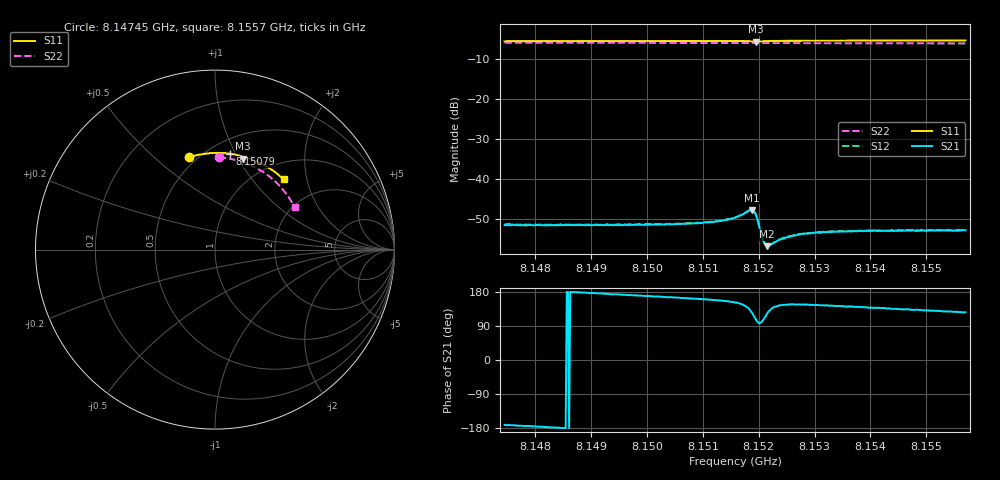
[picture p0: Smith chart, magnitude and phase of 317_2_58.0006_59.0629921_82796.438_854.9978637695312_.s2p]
#  HZ  S  RI  R  50.00
! Rohde & Schwarz Vector Network Analyzer
! Rohde-Schwarz,ZNB20-2Port,1311601062101988,3.16
! Created: UTC 3/21/2024, 1:04:26 AM
! freq[Hz]  re:S11  im:S11  re:S21  im:S21  re:S12  im:S12  re:S22  im:S22
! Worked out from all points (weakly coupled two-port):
!   401 points, 8.14745 GHz to 8.1557 GHz, reference 50 ohm
!   highest |S21| = -47.81 dB at 8.15188 GHz (marker M1); lowest = -56.9 dB at 8.15215 GHz (marker M2)
!   lowest |S11| = -5.5 dB at 8.15195 GHz (marker M3), VSWR 3.26, Z = 37.2 + j52.4 ohm
!   |S11| at or under -10 dB: nowhere
!   |S22| runs from -6.0 to -5.8 dB; largest |S21 - S12| = 0.00013
!   S11 on the Smith chart (normalised r, x): 8.14745 GHz: 0.45, +0.65; 8.15079 GHz: 0.63, +0.95; 8.1557 GHz: 1.31, +1.46
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8.147449e9  -0.147 0.5143  -0.0026 -0.000409  -0.00266 -0.000322  0.0221 0.5133
8.148832e9  -0.0527 0.5348  -0.00265 0.0001  -0.00264 0.000146  0.1113 0.5001
8.150214e9  0.0435 0.538  -0.00261 0.00058  -0.00261 0.000641  0.1962 0.4714
8.150791e9  0.0835 0.534  -0.00264 0.000828  -0.00264 0.000889  0.2296 0.4553
8.151286e9  0.1184 0.5279  -0.00271 0.00114  -0.00273 0.00117  0.2572 0.4394
8.151575e9  0.1393 0.5227  -0.00287 0.00154  -0.00287 0.00157  0.2729 0.4295
8.151823e9  0.1569 0.5127  -0.00285 0.00277  -0.00283 0.00287  0.2858 0.42
8.151884e9  0.1588 0.5083  -0.00225 0.00339  -0.00221 0.00344  0.2887 0.4178
8.151926e9  0.1581 0.5063  -0.0015 0.00352  -0.00146 0.00356  0.2908 0.4162
8.151946e9  0.1575 0.5061  -0.00106 0.00342  -0.00104 0.00345  0.2918 0.4155
8.151988e9  0.1569 0.5074  -0.000483 0.00289  -0.000399 0.00288  0.2938 0.414
8.15207e9  0.1609 0.5111  -0.000408 0.00169  -0.000405 0.00171  0.298 0.411
8.152111e9  0.1643 0.512  -0.000596 0.00139  -0.000571 0.00141  0.3002 0.4095
8.152153e9  0.1677 0.5123  -0.00079 0.00119  -0.000789 0.00124  0.3023 0.4079
8.152194e9  0.1712 0.512  -0.00095 0.0011  -0.000955 0.00115  0.3044 0.4064
8.152338e9  0.1824 0.5101  -0.00132 0.00104  -0.00135 0.00105  0.3117 0.4006
8.152483e9  0.1928 0.507  -0.00152 0.00105  -0.00153 0.00108  0.3188 0.3948
8.15273e9  0.2096 0.501  -0.00168 0.0011  -0.00166 0.00114  0.3307 0.3843
8.152957e9  0.2246 0.4951  -0.00172 0.00118  -0.00172 0.00123  0.3414 0.3745
8.153266e9  0.2444 0.4863  -0.00172 0.00128  -0.00174 0.00132  0.3551 0.3606
8.154339e9  0.3091 0.4498  -0.00161 0.00154  -0.00158 0.0016  0.3989 0.3091
8.1557e9  0.3825 0.3916  -0.00132 0.00183  -0.00132 0.00184  0.4431 0.2362
